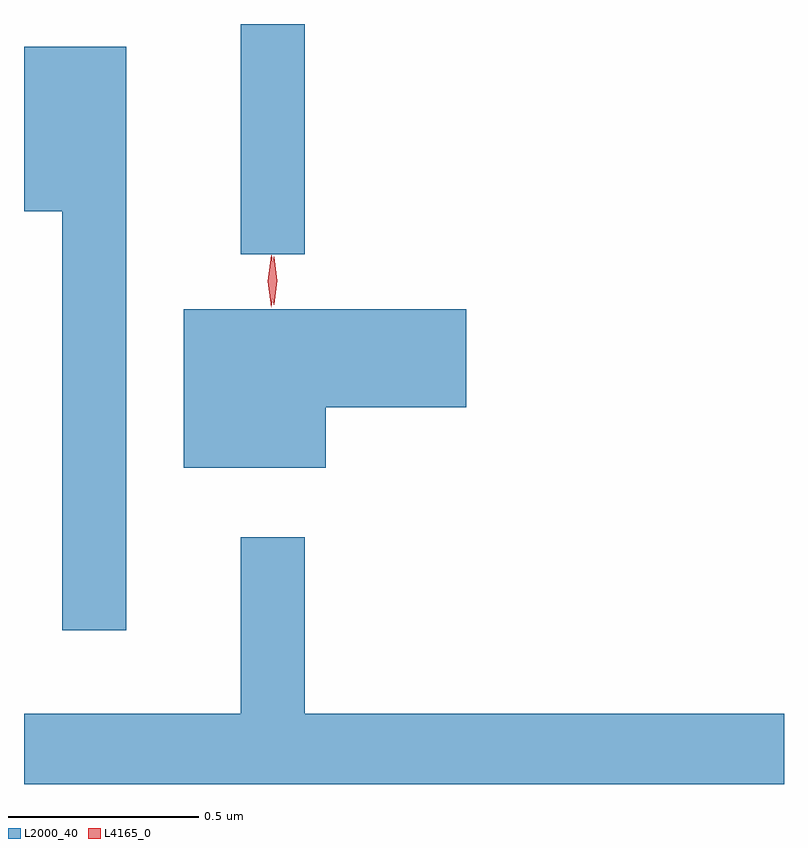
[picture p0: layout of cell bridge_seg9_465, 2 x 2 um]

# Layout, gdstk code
import gdstk
lib = gdstk.Library(unit=1e-6, precision=1e-09)
def R(c, l, rs):  # rectangles x0, y0, x1, y1
    for r in rs: c.add(gdstk.rectangle(r[:2], r[2:], *l))
def P(c, l, *ps):  # polygons
    for p in ps: c.add(gdstk.Polygon(p, *l))
L2000_40 = (2000, 40)
L4165_0 = (4165, 0)

bridge_seg9_465 = lib.new_cell('bridge_seg9_465')
R(bridge_seg9_465, L2000_40, [(240.061,2037.693,240.229,2038.299)])
P(bridge_seg9_465, L2000_40, [(239.759,2038.239),(239.49,2038.239),(239.49,2037.806),(239.591,2037.806),(239.591,2036.703),(239.759,2036.703)],
  [(240.284,2037.291),(240.654,2037.291),(240.654,2037.549),(239.911,2037.549),(239.911,2037.131),(240.284,2037.131)],
  [(241.49,2036.484),(240.229,2036.484),(240.229,2036.948),(240.061,2036.948),(240.061,2036.484),(239.49,2036.484),(239.49,2036.299),(241.49,2036.299)])
P(bridge_seg9_465, L4165_0, [(240.14,2037.554),(240.14,2037.554),(240.131,2037.622),(240.141,2037.69),(240.142,2037.69),(240.142,2037.69),(240.151,2037.622),(240.141,2037.554)],
  [(240.147,2037.56),(240.147,2037.56),(240.138,2037.624),(240.147,2037.686),(240.147,2037.687),(240.148,2037.686),(240.157,2037.624),(240.148,2037.56)])

lib.write_gds('bridge_seg9_465.gds')
